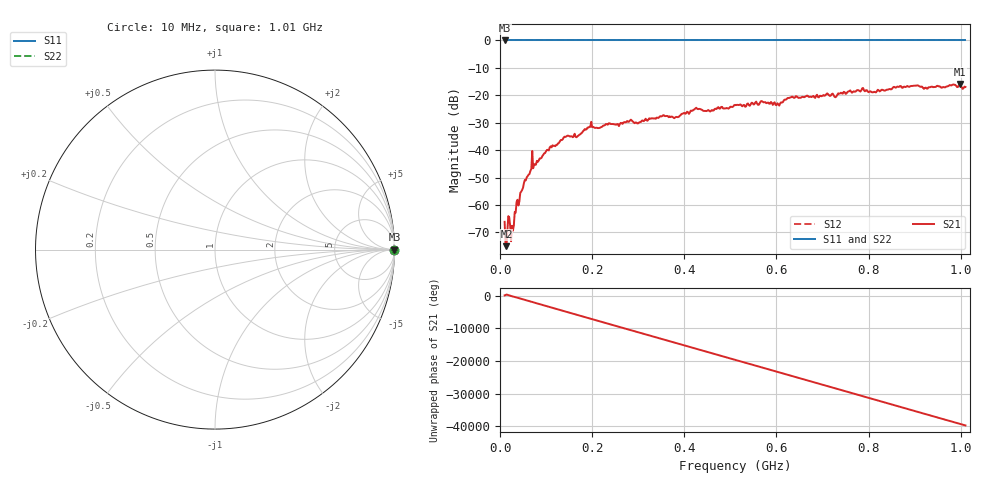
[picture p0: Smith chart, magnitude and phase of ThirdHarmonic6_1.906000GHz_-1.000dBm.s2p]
! 8/16/2025 11:00:06 PM
! C:\ANRITSUVNA\TEMP\TEMP.S2P
! CHANNEL.1
! TR.MEASUREMENT
! RAW.DATA
! RF.CORRECTION.OFF
! AVERAGING.OFF
! IF.BANDWIDTH: 5KHZ
! SWEEPTYPE:  FREQ.SWEEP(Linear)
! Reference Plane Port Info
! PORT:  PORT1  PORT2
! DISTANCE:  0  m  0  m
! TIME:  0  s  0  s
! PHASE.OFFSET:  0  deg.  0  deg.
! LOSS:  0  dB  0  dB
! REF.LOSS:  0  dB  0  dB
! REF.FREQ:  0  Hz  0  Hz
! Power Info
! POWER:  -20  dBm  -20  dBm
! EFF.POWER:  -20  dBm  -20  dBm
! SOURCE.ATTEN:  0  dB  0  dB
! TEST.ATTEN:  0  dB  0  dB
# GHZ S RI R 50.0
! FREQ.GHZ  S11RE  S11IM  S21RE  S21IM  S12RE  S12IM  S22RE  S22IM
!; PortSelection: Port_12
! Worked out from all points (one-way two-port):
!   501 points, 10 MHz to 1.01 GHz, reference 50 ohm
!   highest |S21| = -15.88 dB at 998 MHz (marker M1); lowest = -75.0 dB at 14 MHz (marker M2)
!   lowest |S11| = 0.0 dB at 10 MHz (marker M3)
!   |S11| at or under -10 dB: nowhere
!   |S22| runs from 0.0 to 0.0 dB; largest |S21 - S12| = 1.2
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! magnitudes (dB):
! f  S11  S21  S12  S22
! 10 MHz  0.0  -66.2  0.0  0.0
! 14 MHz  0.0  -75.0  0.0  0.0
! 22 MHz  0.0  -67.5  0.0  0.0
! 26 MHz  0.0  -67.6  0.0  0.0
! 40 MHz  0.0  -60.2  0.0  0.0
! 70 MHz  0.0  -40.3  0.0  0.0
! 142 MHz  0.0  -35.2  0.0  0.0
! 178 MHz  0.0  -33.6  0.0  0.0
! 194 MHz  0.0  -31.5  0.0  0.0
! 214 MHz  0.0  -32.0  0.0  0.0
! 344 MHz  0.0  -28.2  0.0  0.0
! 382 MHz  0.0  -27.9  0.0  0.0
! 424 MHz  0.0  -24.8  0.0  0.0
! 458 MHz  0.0  -25.6  0.0  0.0
! 510 MHz  0.0  -23.5  0.0  0.0
! 570 MHz  0.0  -22.4  0.0  0.0
! 602 MHz  0.0  -22.9  0.0  0.0
! 630 MHz  0.0  -20.8  0.0  0.0
! 678 MHz  0.0  -20.4  0.0  0.0
! 844 MHz  0.0  -17.8  0.0  0.0
! 998 MHz  0.0  -15.9  0.0  0.0
! 1.01 GHz  0.0  -17.0  0.0  0.0
